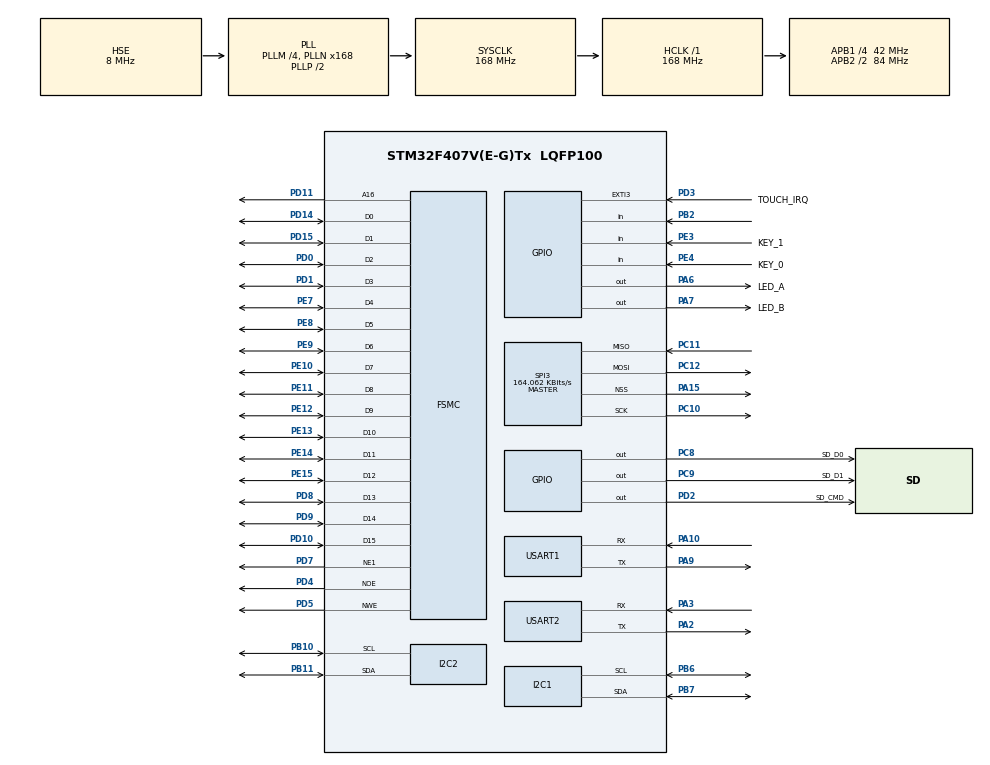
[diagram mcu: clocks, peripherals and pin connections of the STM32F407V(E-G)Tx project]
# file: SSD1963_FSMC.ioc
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FSMC.AddressHoldTime1=2
FSMC.AddressSetupTime1=2
FSMC.BusTurnAroundDuration1=2
FSMC.DataSetupTime1=5
FSMC.ExtendedMode1=FSMC_EXTENDED_MODE_DISABLE
Mcu.Family=STM32F4
Mcu.Name=STM32F407V(E-G)Tx
Mcu.Package=LQFP100
NVIC.EXTI3_IRQn=true\:0\:0\:false\:false\:true\:true\:true
NVIC.PriorityGroup=NVIC_PRIORITYGROUP_4
NVIC.SPI3_IRQn=true\:0\:0\:false\:false\:true\:true\:true
NVIC.TIM1_BRK_TIM9_IRQn=true\:0\:0\:false\:false\:true\:true\:true
NVIC.TIM1_UP_TIM10_IRQn=true\:0\:0\:false\:false\:true\:true\:true
PA0-WKUP.Mode=SYS_WakeUp0
PA0-WKUP.Signal=SYS_WKUP
PA10.Mode=Asynchronous
PA10.Signal=USART1_RX
PA13.Mode=Serial_Wire
PA13.Signal=SYS_JTMS-SWDIO
PA14.Mode=Serial_Wire
PA14.Signal=SYS_JTCK-SWCLK
PA15.Mode=NSS_Signal_Hard_Output
PA15.Signal=SPI3_NSS
PA2.Mode=Asynchronous
PA2.Signal=USART2_TX
PA3.Mode=Asynchronous
PA3.Signal=USART2_RX
PA6.GPIO_Label=LED_A
PA6.GPIO_ModeDefaultOutputPP=GPIO_MODE_OUTPUT_PP
PA6.GPIO_PuPd=GPIO_NOPULL
PA6.GPIO_Speed=GPIO_SPEED_FREQ_LOW
PA6.PinState=GPIO_PIN_SET
PA6.Signal=GPIO_Output
PA7.GPIO_Label=LED_B
PA7.GPIO_ModeDefaultOutputPP=GPIO_MODE_OUTPUT_PP
PA7.GPIO_PuPd=GPIO_NOPULL
PA7.GPIO_Speed=GPIO_SPEED_FREQ_LOW
PA7.PinState=GPIO_PIN_RESET
PA7.Signal=GPIO_Output
PA9.Mode=Asynchronous
PA9.Signal=USART1_TX
PB10.GPIO_Pu=GPIO_PULLUP
PB10.Mode=I2C
PB10.Signal=I2C2_SCL
PB11.GPIO_Pu=GPIO_PULLUP
PB11.Mode=I2C
PB11.Signal=I2C2_SDA
PB2.GPIO_Mode=GPIO_MODE_INPUT
PB2.GPIO_PuPd=GPIO_NOPULL
PB2.Signal=GPIO_Input
PB6.GPIO_Pu=GPIO_PULLUP
PB6.Mode=I2C
PB6.Signal=I2C1_SCL
PB7.GPIO_Pu=GPIO_PULLUP
PB7.Mode=I2C
PB7.Signal=I2C1_SDA
PC10.GPIO_Mode=GPIO_MODE_AF_PP
PC10.GPIO_PuPd=GPIO_NOPULL
PC10.GPIO_Speed=GPIO_SPEED_FREQ_VERY_HIGH
PC10.Mode=Full_Duplex_Master
PC10.Signal=SPI3_SCK
PC11.GPIO_Mode=GPIO_MODE_AF_PP
PC11.GPIO_PuPd=GPIO_NOPULL
PC11.GPIO_Speed=GPIO_SPEED_FREQ_VERY_HIGH
PC11.Mode=Full_Duplex_Master
PC11.Signal=SPI3_MISO
PC12.GPIO_Mode=GPIO_MODE_AF_PP
PC12.GPIO_PuPd=GPIO_NOPULL
PC12.GPIO_Speed=GPIO_SPEED_FREQ_VERY_HIGH
PC12.Mode=Full_Duplex_Master
PC12.Signal=SPI3_MOSI
PC8.GPIO_Label=SD_D0
PC8.GPIO_ModeDefaultOutputPP=GPIO_MODE_OUTPUT_PP
PC8.GPIO_PuPd=GPIO_NOPULL
PC8.GPIO_Speed=GPIO_SPEED_FREQ_LOW
PC8.PinState=GPIO_PIN_RESET
PC8.Signal=GPIO_Output
PC9.GPIO_Label=SD_D1
PC9.GPIO_ModeDefaultOutputPP=GPIO_MODE_OUTPUT_PP
PC9.GPIO_PuPd=GPIO_NOPULL
PC9.GPIO_Speed=GPIO_SPEED_FREQ_LOW
PC9.PinState=GPIO_PIN_RESET
PC9.Signal=GPIO_Output
PD0.Mode=16b-d1
PD0.Signal=FSMC_D2
PD1.Mode=16b-d1
PD1.Signal=FSMC_D3
PD10.Mode=16b-d1
PD10.Signal=FSMC_D15
PD11.Mode=A16_1
PD11.Signal=FSMC_A16
PD14.Mode=16b-d1
PD14.Signal=FSMC_D0
PD15.Mode=16b-d1
PD15.Signal=FSMC_D1
PD2.GPIO_Label=SD_CMD
PD2.GPIO_ModeDefaultOutputPP=GPIO_MODE_OUTPUT_PP
PD2.GPIO_PuPd=GPIO_NOPULL
PD2.GPIO_Speed=GPIO_SPEED_FREQ_LOW
PD2.PinState=GPIO_PIN_RESET
PD2.Signal=GPIO_Output
PD3.GPIO_Label=TOUCH_IRQ
PD3.GPIO_ModeDefaultEXTI=GPIO_MODE_IT_FALLING
PD3.GPIO_PuPd=GPIO_PULLUP
PD3.Signal=GPXTI3
PD4.Mode=Lcd1
PD4.Signal=FSMC_NOE
PD5.Mode=Lcd1
PD5.Signal=FSMC_NWE
PD7.Mode=NorPsramChipSelect1_1
PD7.Signal=FSMC_NE1
PD8.Mode=16b-d1
PD8.Signal=FSMC_D13
PD9.Mode=16b-d1
PD9.Signal=FSMC_D14
PE10.Mode=16b-d1
PE10.Signal=FSMC_D7
PE11.Mode=16b-d1
PE11.Signal=FSMC_D8
PE12.Mode=16b-d1
PE12.Signal=FSMC_D9
PE13.Mode=16b-d1
PE13.Signal=FSMC_D10
PE14.Mode=16b-d1
PE14.Signal=FSMC_D11
PE15.Mode=16b-d1
PE15.Signal=FSMC_D12
PE3.GPIO_Label=KEY_1
PE3.GPIO_Mode=GPIO_MODE_INPUT
PE3.GPIO_PuPd=GPIO_NOPULL
PE3.Signal=GPIO_Input
PE4.GPIO_Label=KEY_0
PE4.GPIO_Mode=GPIO_MODE_INPUT
PE4.GPIO_PuPd=GPIO_NOPULL
PE4.Signal=GPIO_Input
PE7.Mode=16b-d1
PE7.Signal=FSMC_D4
PE8.Mode=16b-d1
PE8.Signal=FSMC_D5
PE9.Mode=16b-d1
PE9.Signal=FSMC_D6
PH0-OSC_IN.Mode=HSE-External-Oscillator
PH0-OSC_IN.Signal=RCC_OSC_IN
PH1-OSC_OUT.Mode=HSE-External-Oscillator
PH1-OSC_OUT.Signal=RCC_OSC_OUT
ProjectManager.HeapSize=0x200
ProjectManager.StackSize=0x400
ProjectManager.TargetToolchain=MDK-ARM V5
RCC.48MHZClocksFreq_Value=48000000
RCC.AHBFreq_Value=168000000
RCC.APB1CLKDivider=RCC_HCLK_DIV4
RCC.APB1Freq_Value=42000000
RCC.APB1TimFreq_Value=84000000
RCC.APB2CLKDivider=RCC_HCLK_DIV2
RCC.APB2Freq_Value=84000000
RCC.APB2TimFreq_Value=168000000
RCC.CortexFreq_Value=168000000
RCC.HCLKFreq_Value=168000000
RCC.HSE_VALUE=8000000
RCC.HSI_VALUE=16000000
RCC.LSE_VALUE=32768
RCC.PLLM=4
RCC.PLLN=168
RCC.PLLQ=7
RCC.PLLSourceVirtual=RCC_PLLSOURCE_HSE
RCC.RCC_MCO1Source=RCC_MCO1SOURCE_HSE
RCC.RCC_MCODiv1=RCC_MCODIV_4
RCC.RCC_RTC_Clock_SourceVirtual=RCC_RTCCLKSOURCE_HSE_DIV8
RCC.RCC_RTC_Clock_Source_FROM_HSE=RCC_RTCCLKSOURCE_HSE_DIV8
RCC.SYSCLKFreq_VALUE=168000000
RCC.SYSCLKSource=RCC_SYSCLKSOURCE_PLLCLK
RCC.VCOOutputFreq_Value=336000000
SPI3.BaudRatePrescaler=SPI_BAUDRATEPRESCALER_256
SPI3.CalculateBaudRate=164.062 KBits/s
SPI3.Direction=SPI_DIRECTION_2LINES
SPI3.Mode=SPI_MODE_MASTER
SPI3.VirtualNSS=VM_NSSHARD
SPI3.VirtualType=VM_MASTER
TIM1.Period=16800
TIM1.Prescaler=10
TIM1.TIM_MasterOutputTrigger=TIM_TRGO_UPDATE
USART1.VirtualMode=VM_ASYNC
USART2.VirtualMode=VM_ASYNC
VP_TIM1_VS_ClockSourceINT.Mode=Internal
board=SSD1963_FSMC

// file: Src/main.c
/* USER CODE BEGIN Header */
/**
  ******************************************************************************
  * @file           : main.c
  * @brief          : Main program body
  ******************************************************************************
  ** This notice applies to any and all portions of this file
  * that are not between comment pairs USER CODE BEGIN and
  * USER CODE END. Other portions of this file, whether
  * inserted by the user or by software development tools
  * are owned by their respective copyright owners.
  *
  * COPYRIGHT(c) 2019 STMicroelectronics
  *
  * Redistribution and use in source and binary forms, with or without modification,
  * are permitted provided that the following conditions are met:
  *   1. Redistributions of source code must retain the above copyright notice,
  *      this list of conditions and the following disclaimer.
  *   2. Redistributions in binary form must reproduce the above copyright notice,
  *      this list of conditions and the following disclaimer in the documentation
  *      and/or other materials provided with the distribution.
  *   3. Neither the name of STMicroelectronics nor the names of its contributors
  *      may be used to endorse or promote products derived from this software
  *      without specific prior written permission.
  *
  * THIS SOFTWARE IS PROVIDED BY THE COPYRIGHT HOLDERS AND CONTRIBUTORS "AS IS"
  * AND ANY EXPRESS OR IMPLIED WARRANTIES, INCLUDING, BUT NOT LIMITED TO, THE
  * IMPLIED WARRANTIES OF MERCHANTABILITY AND FITNESS FOR A PARTICULAR PURPOSE ARE
  * DISCLAIMED. IN NO EVENT SHALL THE COPYRIGHT HOLDER OR CONTRIBUTORS BE LIABLE
  * FOR ANY DIRECT, INDIRECT, INCIDENTAL, SPECIAL, EXEMPLARY, OR CONSEQUENTIAL
  * DAMAGES (INCLUDING, BUT NOT LIMITED TO, PROCUREMENT OF SUBSTITUTE GOODS OR
  * SERVICES; LOSS OF USE, DATA, OR PROFITS; OR BUSINESS INTERRUPTION) HOWEVER
  * CAUSED AND ON ANY THEORY OF LIABILITY, WHETHER IN CONTRACT, STRICT LIABILITY,
  * OR TORT (INCLUDING NEGLIGENCE OR OTHERWISE) ARISING IN ANY WAY OUT OF THE USE
  * OF THIS SOFTWARE, EVEN IF ADVISED OF THE POSSIBILITY OF SUCH DAMAGE.
  *
  ******************************************************************************
  */
/* USER CODE END Header */

#include "main.h"

/* USER CODE BEGIN Includes */
#include "ssd1963_fsmc.h"
#include "xpt2046.h"

#include "fonts/Font_3_Tiny.h"
#include "fonts/Font_3_PicoPixel.h"
#include "fonts/Font_3_TomThumb_Extended.h"
#include "fonts/Font_5_Org.h"
#include "fonts/Font_8_Sinclair.h"
#include "fonts/Font_8_Sinclair_Inverted.h"
#include "fonts/Font_8_Tiny.h"
#include "fonts/Font_8_Myke.h"
#include "fonts/Font_8_Default.h"
#include "fonts/Font_8_Retro.h"
#include "fonts/Font_9_Mono.h"
#include "fonts/Font_9_Mono_Bold.h"
#include "fonts/Font_9_Mono_Bold_Oblique.h"
#include "fonts/Font_9_Mono_Oblique.h"
#include "fonts/Font_9_Sans.h"
#include "fonts/Font_9_Sans_Bold.h"
#include "fonts/Font_9_Sans_Bold_Oblique.h"
#include "fonts/Font_9_Sans_Oblique.h"
#include "fonts/Font_9_Serif.h"
#include "fonts/Font_9_Serif_Bold.h"
#include "fonts/Font_9_Serif_Bold_Italic.h"
#include "fonts/Font_9_Serif_Italic.h"
#include "fonts/Font_12_Mono.h"
#include "fonts/Font_12_Mono_Bold.h"
#include "fonts/Font_12_Mono_Bold_Oblique.h"
#include "fonts/Font_12_Mono_Oblique.h"
#include "fonts/Font_12_Sans.h"
#include "fonts/Font_12_Sans_Bold.h"
#include "fonts/Font_12_Sans_Bold_Oblique.h"
#include "fonts/Font_12_Sans_Oblique.h"
#include "fonts/Font_12_Serif.h"
#include "fonts/Font_12_Serif_Bold.h"
#include "fonts/Font_12_Serif_Bold_Italic.h"
#include "fonts/Font_12_Serif_Italic.h"
#include "fonts/Font_16_Arial.h"
#include "fonts/Font_16_Arial_Bold.h"
#include "fonts/Font_16_Arial_Italic.h"
#include "fonts/Font_16_Default.h"
#include "fonts/Font_16_FranklinGothic.h"
#include "fonts/Font_16_Hallfetica.h"
#include "fonts/Font_16_Nadianne.h"
#include "fonts/Font_16_Sinclair.h"
#include "fonts/Font_16_Sinclair_Inverted.h"
#include "fonts/Font_16_Swiss_Outline.h"
#include "fonts/Font_16_Matrix_Full.h"
#include "fonts/Font_16_Matrix_Full_Slash.h"
#include "fonts/Font_16_Matrix_Num.h"
#include "fonts/Font_16_Arial_Round.h"
#include "fonts/Font_16_OCR.h"
#include "fonts/Font_16_Segment_16_Full.h"
#include "fonts/Font_16_Grotesk.h"
#include "fonts/Font_16_Grotesk_Bold.h"
#include "fonts/Font_16_Retro.h"
#include "fonts/Font_18_Mono.h"
#include "fonts/Font_18_Mono_Bold.h"
#include "fonts/Font_18_Mono_Bold_Oblique.h"
#include "fonts/Font_18_Mono_Oblique.h"
#include "fonts/Font_18_Sans.h"
#include "fonts/Font_18_Sans_Bold.h"
#include "fonts/Font_18_Sans_Bold_Oblique.h"
#include "fonts/Font_18_Sans_Oblique.h"
#include "fonts/Font_18_Serif.h"
#include "fonts/Font_18_Serif_Bold.h"
#include "fonts/Font_18_Serif_Bold_Italic.h"
#include "fonts/Font_18_Serif_Italic.h"
#include "fonts/Font_24_Matrix_Num.h"
#include "fonts/Font_24_Inconsola.h"
#include "fonts/Font_24_Ubuntu.h"
#include "fonts/Font_24_Ubuntu_Bold.h"
#include "fonts/Font_24_Segment_16_Full.h"
#include "fonts/Font_24_Mono.h"
#include "fonts/Font_24_Mono_Bold.h"
#include "fonts/Font_24_Mono_Bold_Oblique.h"
#include "fonts/Font_24_Mono_Oblique.h"
#include "fonts/Font_24_Grotesk.h"
#include "fonts/Font_24_Grotesk_Bold.h"
#include "fonts/Font_24_Sans.h"
#include "fonts/Font_24_Sans_Bold.h"
#include "fonts/Font_24_Sans_Bold_Oblique.h"
#include "fonts/Font_24_Sans_Oblique.h"
#include "fonts/Font_24_Serif.h"
#include "fonts/Font_24_Serif_Bold.h"
#include "fonts/Font_24_Serif_Bold_Italic.h"
#include "fonts/Font_24_SerifItalic.h"
#include "fonts/Font_32_Dingbats.h"
#include "fonts/Font_32_Special.h"
#include "fonts/Font_32_Calibri_Bold.h"
#include "fonts/Font_32_Arial_Num_Plus.h"
#include "fonts/Font_32_Matrix_Num.h"
#include "fonts/Font_32_Segment_7_Full.h"
#include "fonts/Font_32_Segment_7_Num_Plus.h"
#include "fonts/Font_32_Segment_16_Full.h"
#include "fonts/Font_32_Segment_18_Full.h"
#include "fonts/Font_32_Grotesk.h"
#include "fonts/Font_32_Grotesk_Bold.h"
#include "fonts/Font_40_Segment_16_Full.h"
#include "fonts/Font_48_Battery.h"
#include "fonts/Font_48_Segment_16_Num.h"
#include "fonts/Font_64_Segment_16_Num.h"
#include "fonts/Font_64_Segment_7_Num.h"
//#include "fonts/Font_96_Segment_7_Num.h"
//#include "fonts/Font_96_Segment_16_Num.h"
//#include "fonts/Font_128_Segment_16_Num.h"
/* USER CODE END Includes */

I2C_HandleTypeDef hi2c1;
I2C_HandleTypeDef hi2c2;

SPI_HandleTypeDef hspi3;

TIM_HandleTypeDef htim1;

UART_HandleTypeDef huart1;
UART_HandleTypeDef huart2;

SRAM_HandleTypeDef hsram1;

/* USER CODE BEGIN PV */
/* Private variables ---------------------------------------------------------*/
uint8_t touchIRQ = 0;
uint16_t touchX = 0, touchY = 0;
uint64_t millis = 0;
uint64_t micros = 0;

/* USER CODE END PV */

void SystemClock_Config(void);
static void MX_GPIO_Init(void);
static void MX_FSMC_Init(void);
static void MX_I2C1_Init(void);
static void MX_I2C2_Init(void);
static void MX_USART1_UART_Init(void);
static void MX_SPI3_Init(void);
static void MX_TIM1_Init(void);
static void MX_USART2_UART_Init(void);
/* USER CODE BEGIN PFP */
/* Private function prototypes -----------------------------------------------*/

/* USER CODE END PFP */

int main(void)
{

  /* MCU Configuration--------------------------------------------------------*/

  /* Reset of all peripherals, Initializes the Flash interface and the Systick. */
  HAL_Init();

  /* Configure the system clock */
  SystemClock_Config();

  /* Initialize all configured peripherals */
  MX_GPIO_Init();
  MX_FSMC_Init();
  MX_I2C1_Init();
  MX_I2C2_Init();
  MX_USART1_UART_Init();
  MX_SPI3_Init();
  MX_TIM1_Init();
  MX_USART2_UART_Init();
  /* USER CODE BEGIN 2 */
	HAL_TIM_Base_Start(&htim1);
	HAL_TIM_Base_Start_IT(&htim1);

	LCD_Init();
	XPT2046_Init();

	uint8_t uartTransmit[] = "UART OK\r\n";
	HAL_UART_Transmit(&huart1, uartTransmit, sizeof(uartTransmit), 100);

	LCD_Rect_Fill(0, 0, 800, 480, BLUE);
	LCD_Rect_Fill(1, 1, 798, 478, BLACK);

//	HAL_Delay(1000);
	LCD_Rect_Fill(0, 0, 160, 128, BLACK);
	for(uint8_t x = 8; x <= 160; x += 8)
	{
		LCD_Line(0, 0, x, 128, 1, GREEN);
	}
	for(uint8_t y = 8; y <= 128; y += 8) {
		LCD_Line(0, 0, 160, y, 1, GREEN);
	}
	HAL_Delay(250);

	uint8_t h = 16;
	uint8_t w = 20;
	for(uint8_t i = 0; i < 8; i++)
	{
		LCD_Rect(80 - w / 2, 64 - h / 2, w, h, 2, YELLOW);
		h += 16;
		w += 20;
	}
	HAL_Delay(250);
	LCD_Rect_Fill(0, 0, 160, 128, BLUE);
	LCD_Rect_Fill(1, 1, 158, 126, BLACK);
	LCD_Font(5, 40, "This is\n just a Test\n TomThumb Ext\n", _3_TomThumb_Extended, 1, YELLOW);
	LCD_Line(23, 20, 137, 20, 1, MAGENTA);
	LCD_Line(23, 21, 137, 21, 1, BLUE);
	LCD_Line(23, 21, 137, 21, 1, BLUE);
	LCD_Font(41, 10, "DISPLAY DRIVER", _5_Org, 1, MAGENTA);
	LCD_Font(45, 35, "SERIF BOLD", _9_Serif_Bold, 1, RED);
	LCD_Circle(40, 90, 30, 0, 1, RED);
	LCD_Circle(45, 90, 20, 1, 1, BLUE);
	LCD_Triangle_Fill(5, 5, 5, 20, 25, 25, BLUE);
	LCD_Triangle(5, 5, 5, 20, 25, 25, 1, RED);
	LCD_Rect(60, 45, 30, 20, 2, GREEN);
	LCD_Rect_Round(80, 70, 60, 25, 10, 3, WHITE);
	LCD_Rect_Round_Fill(80, 100, 60, 25, 10, WHITE);
	LCD_Ellipse(60, 100, 30, 20, 0, 2, YELLOW);
	LCD_Ellipse(125, 60, 25, 15, 1, 1, YELLOW);
	LCD_Font(0, 200, "1234567890", _32_Segment_7_Num_Plus, 1, RED);
	LCD_Font(10, 220, "1234567890 Default Font", _8_Default, 1, RED);
  /* USER CODE END 2 */

  /* Infinite loop */
  while (1)
  {

    /* USER CODE BEGIN 3 */
		if (touchIRQ)
		{
		touchX = getX();
		touchY = getY();
		if (touchX && touchY)
		{
		LCD_Rect_Fill(touchX, touchY, 2, 2, WHITE);
		}
		HAL_GPIO_WritePin(GPIOA, GPIO_PIN_6, GPIO_PIN_RESET);

		touchX = 0;
		touchY = 0;
		touchIRQ = 0;
		}
		else
		{
			HAL_GPIO_WritePin(GPIOA, GPIO_PIN_6, GPIO_PIN_SET);
		}

	if (millis / 1000 % 2 == 0) HAL_GPIO_WritePin(GPIOA, GPIO_PIN_7, GPIO_PIN_SET);
	else HAL_GPIO_WritePin(GPIOA, GPIO_PIN_7, GPIO_PIN_RESET);
	}

  /* USER CODE END 3 */
}

void SystemClock_Config(void)
{
  RCC_OscInitTypeDef RCC_OscInitStruct = {0};
  RCC_ClkInitTypeDef RCC_ClkInitStruct = {0};

  /**Configure the main internal regulator output voltage
  */
  __HAL_RCC_PWR_CLK_ENABLE();
  __HAL_PWR_VOLTAGESCALING_CONFIG(PWR_REGULATOR_VOLTAGE_SCALE1);
  /**Initializes the CPU, AHB and APB busses clocks
  */
  RCC_OscInitStruct.OscillatorType = RCC_OSCILLATORTYPE_HSE;
  RCC_OscInitStruct.HSEState = RCC_HSE_ON;
  RCC_OscInitStruct.PLL.PLLState = RCC_PLL_ON;
  RCC_OscInitStruct.PLL.PLLSource = RCC_PLLSOURCE_HSE;
  RCC_OscInitStruct.PLL.PLLM = 4;
  RCC_OscInitStruct.PLL.PLLN = 168;
  RCC_OscInitStruct.PLL.PLLP = RCC_PLLP_DIV2;
  RCC_OscInitStruct.PLL.PLLQ = 7;
  if (HAL_RCC_OscConfig(&RCC_OscInitStruct) != HAL_OK)
  {
    Error_Handler();
  }
  /**Initializes the CPU, AHB and APB busses clocks
  */
  RCC_ClkInitStruct.ClockType = RCC_CLOCKTYPE_HCLK|RCC_CLOCKTYPE_SYSCLK
                              |RCC_CLOCKTYPE_PCLK1|RCC_CLOCKTYPE_PCLK2;
  RCC_ClkInitStruct.SYSCLKSource = RCC_SYSCLKSOURCE_PLLCLK;
  RCC_ClkInitStruct.AHBCLKDivider = RCC_SYSCLK_DIV1;
  RCC_ClkInitStruct.APB1CLKDivider = RCC_HCLK_DIV4;
  RCC_ClkInitStruct.APB2CLKDivider = RCC_HCLK_DIV2;

  if (HAL_RCC_ClockConfig(&RCC_ClkInitStruct, FLASH_LATENCY_5) != HAL_OK)
  {
    Error_Handler();
  }
}

static void MX_I2C1_Init(void)
{

  hi2c1.Instance = I2C1;
  hi2c1.Init.ClockSpeed = 100000;
  hi2c1.Init.DutyCycle = I2C_DUTYCYCLE_2;
  hi2c1.Init.OwnAddress1 = 0;
  hi2c1.Init.AddressingMode = I2C_ADDRESSINGMODE_7BIT;
  hi2c1.Init.DualAddressMode = I2C_DUALADDRESS_DISABLE;
  hi2c1.Init.OwnAddress2 = 0;
  hi2c1.Init.GeneralCallMode = I2C_GENERALCALL_DISABLE;
  hi2c1.Init.NoStretchMode = I2C_NOSTRETCH_DISABLE;
  if (HAL_I2C_Init(&hi2c1) != HAL_OK)
  {
    Error_Handler();
  }

}

static void MX_I2C2_Init(void)
{

  hi2c2.Instance = I2C2;
  hi2c2.Init.ClockSpeed = 100000;
  hi2c2.Init.DutyCycle = I2C_DUTYCYCLE_2;
  hi2c2.Init.OwnAddress1 = 0;
  hi2c2.Init.AddressingMode = I2C_ADDRESSINGMODE_7BIT;
  hi2c2.Init.DualAddressMode = I2C_DUALADDRESS_DISABLE;
  hi2c2.Init.OwnAddress2 = 0;
  hi2c2.Init.GeneralCallMode = I2C_GENERALCALL_DISABLE;
  hi2c2.Init.NoStretchMode = I2C_NOSTRETCH_DISABLE;
  if (HAL_I2C_Init(&hi2c2) != HAL_OK)
  {
    Error_Handler();
  }

}

static void MX_SPI3_Init(void)
{

  /* SPI3 parameter configuration*/
  hspi3.Instance = SPI3;
  hspi3.Init.Mode = SPI_MODE_MASTER;
  hspi3.Init.Direction = SPI_DIRECTION_2LINES;
  hspi3.Init.DataSize = SPI_DATASIZE_8BIT;
  hspi3.Init.CLKPolarity = SPI_POLARITY_LOW;
  hspi3.Init.CLKPhase = SPI_PHASE_1EDGE;
  hspi3.Init.NSS = SPI_NSS_HARD_OUTPUT;
  hspi3.Init.BaudRatePrescaler = SPI_BAUDRATEPRESCALER_256;
  hspi3.Init.FirstBit = SPI_FIRSTBIT_MSB;
  hspi3.Init.TIMode = SPI_TIMODE_DISABLE;
  hspi3.Init.CRCCalculation = SPI_CRCCALCULATION_DISABLE;
  hspi3.Init.CRCPolynomial = 10;
  if (HAL_SPI_Init(&hspi3) != HAL_OK)
  {
    Error_Handler();
  }

}

static void MX_TIM1_Init(void)
{

  TIM_ClockConfigTypeDef sClockSourceConfig = {0};
  TIM_MasterConfigTypeDef sMasterConfig = {0};

  htim1.Instance = TIM1;
  htim1.Init.Prescaler = 10;
  htim1.Init.CounterMode = TIM_COUNTERMODE_UP;
  htim1.Init.Period = 16800;
  htim1.Init.ClockDivision = TIM_CLOCKDIVISION_DIV1;
  htim1.Init.RepetitionCounter = 0;
  if (HAL_TIM_Base_Init(&htim1) != HAL_OK)
  {
    Error_Handler();
  }
  sClockSourceConfig.ClockSource = TIM_CLOCKSOURCE_INTERNAL;
  if (HAL_TIM_ConfigClockSource(&htim1, &sClockSourceConfig) != HAL_OK)
  {
    Error_Handler();
  }
  sMasterConfig.MasterOutputTrigger = TIM_TRGO_UPDATE;
  sMasterConfig.MasterSlaveMode = TIM_MASTERSLAVEMODE_DISABLE;
  if (HAL_TIMEx_MasterConfigSynchronization(&htim1, &sMasterConfig) != HAL_OK)
  {
    Error_Handler();
  }

}

static void MX_USART1_UART_Init(void)
{

  huart1.Instance = USART1;
  huart1.Init.BaudRate = 115200;
  huart1.Init.WordLength = UART_WORDLENGTH_8B;
  huart1.Init.StopBits = UART_STOPBITS_1;
  huart1.Init.Parity = UART_PARITY_NONE;
  huart1.Init.Mode = UART_MODE_TX_RX;
  huart1.Init.HwFlowCtl = UART_HWCONTROL_NONE;
  huart1.Init.OverSampling = UART_OVERSAMPLING_16;
  if (HAL_UART_Init(&huart1) != HAL_OK)
  {
    Error_Handler();
  }

}

static void MX_USART2_UART_Init(void)
{

  huart2.Instance = USART2;
  huart2.Init.BaudRate = 115200;
  huart2.Init.WordLength = UART_WORDLENGTH_8B;
  huart2.Init.StopBits = UART_STOPBITS_1;
  huart2.Init.Parity = UART_PARITY_NONE;
  huart2.Init.Mode = UART_MODE_TX_RX;
  huart2.Init.HwFlowCtl = UART_HWCONTROL_NONE;
  huart2.Init.OverSampling = UART_OVERSAMPLING_16;
  if (HAL_UART_Init(&huart2) != HAL_OK)
  {
    Error_Handler();
  }

}

static void MX_GPIO_Init(void)
{
  GPIO_InitTypeDef GPIO_InitStruct = {0};

  /* GPIO Ports Clock Enable */
  __HAL_RCC_GPIOE_CLK_ENABLE();
  __HAL_RCC_GPIOH_CLK_ENABLE();
  __HAL_RCC_GPIOA_CLK_ENABLE();
  __HAL_RCC_GPIOB_CLK_ENABLE();
  __HAL_RCC_GPIOD_CLK_ENABLE();
  __HAL_RCC_GPIOC_CLK_ENABLE();

  /*Configure GPIO pin Output Level */
  HAL_GPIO_WritePin(LED_A_GPIO_Port, LED_A_Pin, GPIO_PIN_SET);

  /*Configure GPIO pin Output Level */
  HAL_GPIO_WritePin(LED_B_GPIO_Port, LED_B_Pin, GPIO_PIN_RESET);

  /*Configure GPIO pin Output Level */
  HAL_GPIO_WritePin(GPIOC, SD_D0_Pin|SD_D1_Pin, GPIO_PIN_RESET);

  /*Configure GPIO pin Output Level */
  HAL_GPIO_WritePin(SD_CMD_GPIO_Port, SD_CMD_Pin, GPIO_PIN_RESET);

  /*Configure GPIO pins : KEY_1_Pin KEY_0_Pin */
  GPIO_InitStruct.Pin = KEY_1_Pin|KEY_0_Pin;
  GPIO_InitStruct.Mode = GPIO_MODE_INPUT;
  GPIO_InitStruct.Pull = GPIO_NOPULL;
  HAL_GPIO_Init(GPIOE, &GPIO_InitStruct);

  /*Configure GPIO pins : LED_A_Pin LED_B_Pin */
  GPIO_InitStruct.Pin = LED_A_Pin|LED_B_Pin;
  GPIO_InitStruct.Mode = GPIO_MODE_OUTPUT_PP;
  GPIO_InitStruct.Pull = GPIO_NOPULL;
  GPIO_InitStruct.Speed = GPIO_SPEED_FREQ_LOW;
  HAL_GPIO_Init(GPIOA, &GPIO_InitStruct);

  /*Configure GPIO pin : PB2 */
  GPIO_InitStruct.Pin = GPIO_PIN_2;
  GPIO_InitStruct.Mode = GPIO_MODE_INPUT;
  GPIO_InitStruct.Pull = GPIO_NOPULL;
  HAL_GPIO_Init(GPIOB, &GPIO_InitStruct);

  /*Configure GPIO pins : SD_D0_Pin SD_D1_Pin */
  GPIO_InitStruct.Pin = SD_D0_Pin|SD_D1_Pin;
  GPIO_InitStruct.Mode = GPIO_MODE_OUTPUT_PP;
  GPIO_InitStruct.Pull = GPIO_NOPULL;
  GPIO_InitStruct.Speed = GPIO_SPEED_FREQ_LOW;
  HAL_GPIO_Init(GPIOC, &GPIO_InitStruct);

  /*Configure GPIO pin : SD_CMD_Pin */
  GPIO_InitStruct.Pin = SD_CMD_Pin;
  GPIO_InitStruct.Mode = GPIO_MODE_OUTPUT_PP;
  GPIO_InitStruct.Pull = GPIO_NOPULL;
  GPIO_InitStruct.Speed = GPIO_SPEED_FREQ_LOW;
  HAL_GPIO_Init(SD_CMD_GPIO_Port, &GPIO_InitStruct);

  /*Configure GPIO pin : TOUCH_IRQ_Pin */
  GPIO_InitStruct.Pin = TOUCH_IRQ_Pin;
  GPIO_InitStruct.Mode = GPIO_MODE_IT_FALLING;
  GPIO_InitStruct.Pull = GPIO_PULLUP;
  HAL_GPIO_Init(TOUCH_IRQ_GPIO_Port, &GPIO_InitStruct);

  /* EXTI interrupt init*/
  HAL_NVIC_SetPriority(EXTI3_IRQn, 0, 0);
  HAL_NVIC_EnableIRQ(EXTI3_IRQn);

}

/* FSMC initialization function */
static void MX_FSMC_Init(void)
{
  FSMC_NORSRAM_TimingTypeDef Timing;

  /** Perform the SRAM1 memory initialization sequence
  */
  hsram1.Instance = FSMC_NORSRAM_DEVICE;
  hsram1.Extended = FSMC_NORSRAM_EXTENDED_DEVICE;
  /* hsram1.Init */
  hsram1.Init.NSBank = FSMC_NORSRAM_BANK1;
  hsram1.Init.DataAddressMux = FSMC_DATA_ADDRESS_MUX_DISABLE;
  hsram1.Init.MemoryType = FSMC_MEMORY_TYPE_SRAM;
  hsram1.Init.MemoryDataWidth = FSMC_NORSRAM_MEM_BUS_WIDTH_16;
  hsram1.Init.BurstAccessMode = FSMC_BURST_ACCESS_MODE_DISABLE;
  hsram1.Init.WaitSignalPolarity = FSMC_WAIT_SIGNAL_POLARITY_LOW;
  hsram1.Init.WrapMode = FSMC_WRAP_MODE_DISABLE;
  hsram1.Init.WaitSignalActive = FSMC_WAIT_TIMING_BEFORE_WS;
  hsram1.Init.WriteOperation = FSMC_WRITE_OPERATION_ENABLE;
  hsram1.Init.WaitSignal = FSMC_WAIT_SIGNAL_DISABLE;
  hsram1.Init.ExtendedMode = FSMC_EXTENDED_MODE_DISABLE;
  hsram1.Init.AsynchronousWait = FSMC_ASYNCHRONOUS_WAIT_DISABLE;
  hsram1.Init.WriteBurst = FSMC_WRITE_BURST_DISABLE;
  hsram1.Init.PageSize = FSMC_PAGE_SIZE_NONE;
  /* Timing */
  Timing.AddressSetupTime = 2;
  Timing.AddressHoldTime = 2;
  Timing.DataSetupTime = 5;
  Timing.BusTurnAroundDuration = 2;
  Timing.CLKDivision = 16;
  Timing.DataLatency = 17;
  Timing.AccessMode = FSMC_ACCESS_MODE_A;
  /* ExtTiming */

  if (HAL_SRAM_Init(&hsram1, &Timing, NULL) != HAL_OK)
  {
    Error_Handler( );
  }

}

/* USER CODE BEGIN 4 */
void HAL_GPIO_EXTI_Callback(uint16_t GPIO_Pin)
{
 if (GPIO_Pin == GPIO_PIN_3) touchIRQ = 1;
 else { __NOP(); }
}
/* USER CODE END 4 */

void Error_Handler(void)
{
  while(1)
  {
  }
}

/************************ (C) COPYRIGHT STMicroelectronics *****END OF FILE****/
